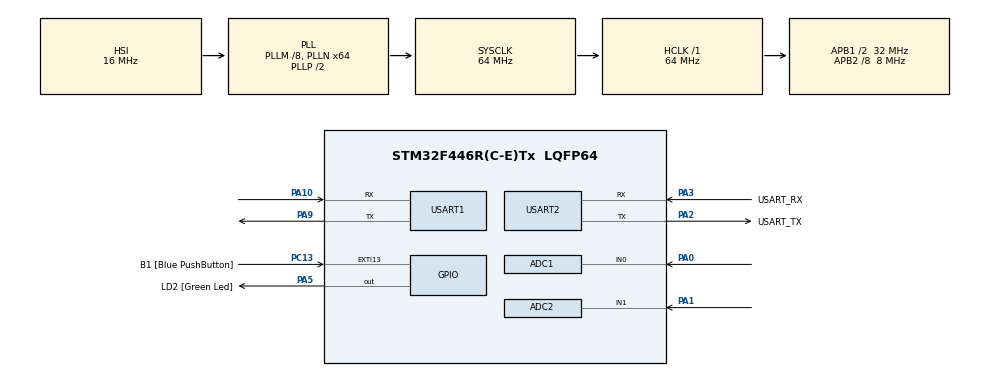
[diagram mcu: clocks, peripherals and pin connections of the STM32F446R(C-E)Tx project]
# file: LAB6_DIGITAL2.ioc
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ADC1.Channel-0\#ChannelRegularConversion=ADC_CHANNEL_0
ADC1.ClockPrescaler=ADC_CLOCK_SYNC_PCLK_DIV8
ADC1.DataAlign=ADC_DATAALIGN_RIGHT
ADC1.NbrOfConversionFlag=1
ADC1.Rank-0\#ChannelRegularConversion=1
ADC1.Resolution=ADC_RESOLUTION_12B
ADC1.SamplingTime-0\#ChannelRegularConversion=ADC_SAMPLETIME_480CYCLES
ADC1.master=1
ADC2.Channel-0\#ChannelRegularConversion=ADC_CHANNEL_1
ADC2.ClockPrescaler=ADC_CLOCK_SYNC_PCLK_DIV8
ADC2.DataAlign=ADC_DATAALIGN_RIGHT
ADC2.NbrOfConversionFlag=1
ADC2.Rank-0\#ChannelRegularConversion=1
ADC2.Resolution=ADC_RESOLUTION_12B
ADC2.SamplingTime-0\#ChannelRegularConversion=ADC_SAMPLETIME_480CYCLES
Mcu.Family=STM32F4
Mcu.Name=STM32F446R(C-E)Tx
Mcu.Package=LQFP64
NVIC.ADC_IRQn=true\:0\:0\:false\:false\:true\:true\:true\:true
NVIC.PriorityGroup=NVIC_PRIORITYGROUP_0
NVIC.USART1_IRQn=true\:0\:0\:false\:false\:true\:true\:true\:true
NVIC.USART2_IRQn=true\:0\:0\:false\:false\:true\:true\:true\:true
PA0-WKUP.Signal=ADCx_IN0
PA1.Signal=ADCx_IN1
PA10.Mode=Asynchronous
PA10.Signal=USART1_RX
PA13.GPIO_Label=TMS
PA13.Mode=Serial_Wire
PA13.Signal=SYS_JTMS-SWDIO
PA14.GPIO_Label=TCK
PA14.Mode=Serial_Wire
PA14.Signal=SYS_JTCK-SWCLK
PA2.GPIO_Label=USART_TX
PA2.Mode=Asynchronous
PA2.Signal=USART2_TX
PA3.GPIO_Label=USART_RX
PA3.Mode=Asynchronous
PA3.Signal=USART2_RX
PA5.GPIO_Label=LD2 [Green Led]
PA5.Signal=GPIO_Output
PA9.Mode=Asynchronous
PA9.Signal=USART1_TX
PB3.GPIO_Label=SWO
PB3.Signal=SYS_JTDO-SWO
PC13.GPIO_Label=B1 [Blue PushButton]
PC13.GPIO_ModeDefaultEXTI=GPIO_MODE_IT_FALLING
PC13.Signal=GPXTI13
PC14-OSC32_IN.Mode=LSE-External-Oscillator
PC14-OSC32_IN.Signal=RCC_OSC32_IN
PC15-OSC32_OUT.Mode=LSE-External-Oscillator
PC15-OSC32_OUT.Signal=RCC_OSC32_OUT
PH0-OSC_IN.Mode=HSE-External-Oscillator
PH0-OSC_IN.Signal=RCC_OSC_IN
PH1-OSC_OUT.Mode=HSE-External-Oscillator
PH1-OSC_OUT.Signal=RCC_OSC_OUT
ProjectManager.HeapSize=0x200
ProjectManager.StackSize=0x400
ProjectManager.TargetToolchain=STM32CubeIDE
RCC.48MHZClocksFreq_Value=84000000
RCC.AHBFreq_Value=64000000
RCC.APB1CLKDivider=RCC_HCLK_DIV2
RCC.APB1Freq_Value=32000000
RCC.APB1TimFreq_Value=64000000
RCC.APB2CLKDivider=RCC_HCLK_DIV8
RCC.APB2Freq_Value=8000000
RCC.APB2TimFreq_Value=16000000
RCC.CortexFreq_Value=64000000
RCC.FLatency-AdvancedSettings=FLASH_LATENCY_2
RCC.HCLKFreq_Value=64000000
RCC.HSE_VALUE=8000000
RCC.HSI_VALUE=16000000
RCC.PLLM=8
RCC.PLLN=64
RCC.SYSCLKFreq_VALUE=64000000
RCC.SYSCLKSource=RCC_SYSCLKSOURCE_PLLCLK
RCC.USBFreq_Value=64000000
RCC.VCOOutputFreq_Value=128000000
SH.ADCx_IN0.0=ADC1_IN0,IN0
SH.ADCx_IN1.0=ADC2_IN1,IN1
USART1.VirtualMode=VM_ASYNC
USART2.VirtualMode=VM_ASYNC
board=NUCLEO-F446RE

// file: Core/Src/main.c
/* USER CODE BEGIN Header */
/**
  ******************************************************************************
  * @file           : main.c
  * @brief          : Main program body
  ******************************************************************************
  * @attention
  *
  * Copyright (c) 2026 STMicroelectronics.
  * All rights reserved.
  *
  * This software is licensed under terms that can be found in the LICENSE file
  * in the root directory of this software component.
  * If no LICENSE file comes with this software, it is provided AS-IS.
  *
  ******************************************************************************
  */
/* USER CODE END Header */
#include "main.h"

/* USER CODE BEGIN Includes */
#include <stdio.h>
#include <string.h>
/* USER CODE END Includes */

ADC_HandleTypeDef hadc1;
ADC_HandleTypeDef hadc2;

UART_HandleTypeDef huart1;
UART_HandleTypeDef huart2;

void SystemClock_Config(void);
static void MX_GPIO_Init(void);
static void MX_USART2_UART_Init(void);
static void MX_ADC1_Init(void);
static void MX_ADC2_Init(void);
static void MX_USART1_UART_Init(void);

/* USER CODE BEGIN 0 */
volatile uint16_t ADCValor1=0;
volatile uint16_t ADCValor2=0;
char buffer[100];
volatile uint8_t ok1=0;
volatile uint8_t ok2=0;

uint8_t dato_uart;
uint8_t ok_UART = 0;
/* USER CODE END 0 */

int main(void)
{

  /* MCU Configuration--------------------------------------------------------*/

  /* Reset of all peripherals, Initializes the Flash interface and the Systick. */
  HAL_Init();

  /* Configure the system clock */
  SystemClock_Config();

  /* Initialize all configured peripherals */
  MX_GPIO_Init();
  MX_USART2_UART_Init();
  MX_ADC1_Init();
  MX_ADC2_Init();
  MX_USART1_UART_Init();
  /* USER CODE BEGIN 2 */
  HAL_ADC_Start_IT(&hadc1);
  HAL_ADC_Start_IT(&hadc2);
  HAL_UART_Receive_IT(&huart2, buffer, 1);
  HAL_UART_Receive_IT(&huart1, buffer, 1);
  /* USER CODE END 2 */

  /* Infinite loop */
  /* USER CODE BEGIN WHILE */
  while (1)
  {

	  if (ok1 == 1)
	  {
		  ok1 = 0;

		  if (ADCValor1 >= 2047)
		  {

			  int len = sprintf((char*)buffer, "ARRIBA|  POT1: %u \r\n", (unsigned int)ADCValor1);
			  HAL_UART_Transmit(&huart2, (uint8_t*)buffer, len, 100);
		  }
		  else
		  {
			  int len = sprintf((char*)buffer, " ABAJO | POT1: %u \r\n", (unsigned int)ADCValor1);
			  HAL_UART_Transmit(&huart2, (uint8_t*)buffer, len, 100);
		  }

	  }

	  if (ok2 == 1)
	  	  {
	  		  ok2 = 0;

	  		  if (ADCValor2 >= 2047)
	  		  {

	  			  int len = sprintf((char*)buffer, "DERECHA|  POT2: %u \r\n", (unsigned int)ADCValor2);
	  			  HAL_UART_Transmit(&huart2, (uint8_t*)buffer, len, 100);
	  		  }
	  		  else
	  		  {
	  			  int len = sprintf((char*)buffer, " IZQUIERDA | POT2: %u \r\n", (unsigned int)ADCValor2);
	  			  HAL_UART_Transmit(&huart2, (uint8_t*)buffer, len, 100);
	  		  }

	  	  }

	      // El resto del tiempo el micro puede estar haciendo otras cosas
	      // o simplemente esperando sin llenar el serial de basura.

	  /* 1. Limpiaros el buffer por seguridad
	  memset(buffer, 0, sizeof(buffer));

	 // int len = sprintf(buffer, "POT1: %u | POT2: %u \r\n", ADCValor1, ADCValor2);
	  // 1. Formateamos el mensaje principal con los valores
	  int len = sprintf((char*)buffer, "POT1: %u | POT2: %u ", (unsigned int)ADCValor1, (unsigned int)ADCValor2);

	  // 2. Hacemos la comparación
	  if (ADCValor1 >= 2047) {
	      // Concatenamos o añadimos el texto "arriba" al buffer
	      len += sprintf((char*)&buffer[len], "-> ARRIBA \r\n");
	  }
	  else {
	      len += sprintf((char*)&buffer[len], "-> ABAJO \r\n");
	  }

	  if (ADCValor2 >= 2047) {
	  	      // Concatenamos o añadimos el texto "arriba" al buffer
	  	      len += sprintf((char*)&buffer[len], "-> DERECHA \r\n");
	  	  }
	  	  else {
	  	      len += sprintf((char*)&buffer[len], "-> IZQUIERDA \r\n");
	  	  }
*/

	  // Si se activa la bandera de "nuevo dato"
	  if (ok_UART == 1){
		  // 1. Bajar la bandera inmediatamente
		  ok_UART = 0;

		  if (dato_uart == 'U')
		  {

			  int len = sprintf((char*)buffer, " ARRIBA  \r\n");
			  HAL_UART_Transmit(&huart2, (uint8_t*)buffer, len, 100);
		  }
		  else if (dato_uart == 'D')
		  {
			  int len = sprintf((char*)buffer, " ABAJO \r\n" );
			  HAL_UART_Transmit(&huart2, (uint8_t*)buffer, len, 100);
		  }

		  else if (dato_uart == 'R')
		  {
			  int len = sprintf((char*)buffer, " DERECHA \r\n");
			  HAL_UART_Transmit(&huart2, (uint8_t*)buffer, len, 100);
		  }

		  else if (dato_uart == 'L')
		  {
			  int len = sprintf((char*)buffer, " IZQUIERDA \r\n");
			  HAL_UART_Transmit(&huart2, (uint8_t*)buffer, len, 100);
		  }

		  else if (dato_uart == 'A')
		  {
			  int len = sprintf((char*)buffer, " A \r\n");
			  HAL_UART_Transmit(&huart2, (uint8_t*)buffer, len, 100);
		  }

		  else if (dato_uart == 'B')
		  {
			  int len = sprintf((char*)buffer, " B \r\n");
			  HAL_UART_Transmit(&huart2, (uint8_t*)buffer, len, 100);
		  }
	  }

	  // 4. Transmitir
	 // HAL_UART_Transmit(&huart2, (uint8_t*)buffer, len, 100);
	  HAL_Delay(200);
    /* USER CODE END WHILE */

  }
}

void SystemClock_Config(void)
{
  RCC_OscInitTypeDef RCC_OscInitStruct = {0};
  RCC_ClkInitTypeDef RCC_ClkInitStruct = {0};

  /** Configure the main internal regulator output voltage
  */
  __HAL_RCC_PWR_CLK_ENABLE();
  __HAL_PWR_VOLTAGESCALING_CONFIG(PWR_REGULATOR_VOLTAGE_SCALE3);

  /** Initializes the RCC Oscillators according to the specified parameters
  * in the RCC_OscInitTypeDef structure.
  */
  RCC_OscInitStruct.OscillatorType = RCC_OSCILLATORTYPE_HSI;
  RCC_OscInitStruct.HSIState = RCC_HSI_ON;
  RCC_OscInitStruct.HSICalibrationValue = RCC_HSICALIBRATION_DEFAULT;
  RCC_OscInitStruct.PLL.PLLState = RCC_PLL_ON;
  RCC_OscInitStruct.PLL.PLLSource = RCC_PLLSOURCE_HSI;
  RCC_OscInitStruct.PLL.PLLM = 8;
  RCC_OscInitStruct.PLL.PLLN = 64;
  RCC_OscInitStruct.PLL.PLLP = RCC_PLLP_DIV2;
  RCC_OscInitStruct.PLL.PLLQ = 2;
  RCC_OscInitStruct.PLL.PLLR = 2;
  if (HAL_RCC_OscConfig(&RCC_OscInitStruct) != HAL_OK)
  {
    Error_Handler();
  }

  /** Initializes the CPU, AHB and APB buses clocks
  */
  RCC_ClkInitStruct.ClockType = RCC_CLOCKTYPE_HCLK|RCC_CLOCKTYPE_SYSCLK
                              |RCC_CLOCKTYPE_PCLK1|RCC_CLOCKTYPE_PCLK2;
  RCC_ClkInitStruct.SYSCLKSource = RCC_SYSCLKSOURCE_PLLCLK;
  RCC_ClkInitStruct.AHBCLKDivider = RCC_SYSCLK_DIV1;
  RCC_ClkInitStruct.APB1CLKDivider = RCC_HCLK_DIV2;
  RCC_ClkInitStruct.APB2CLKDivider = RCC_HCLK_DIV8;

  if (HAL_RCC_ClockConfig(&RCC_ClkInitStruct, FLASH_LATENCY_2) != HAL_OK)
  {
    Error_Handler();
  }
}

static void MX_ADC1_Init(void)
{

  ADC_ChannelConfTypeDef sConfig = {0};

  /** Configure the global features of the ADC (Clock, Resolution, Data Alignment and number of conversion)
  */
  hadc1.Instance = ADC1;
  hadc1.Init.ClockPrescaler = ADC_CLOCK_SYNC_PCLK_DIV8;
  hadc1.Init.Resolution = ADC_RESOLUTION_12B;
  hadc1.Init.ScanConvMode = DISABLE;
  hadc1.Init.ContinuousConvMode = DISABLE;
  hadc1.Init.DiscontinuousConvMode = DISABLE;
  hadc1.Init.ExternalTrigConvEdge = ADC_EXTERNALTRIGCONVEDGE_NONE;
  hadc1.Init.ExternalTrigConv = ADC_SOFTWARE_START;
  hadc1.Init.DataAlign = ADC_DATAALIGN_RIGHT;
  hadc1.Init.NbrOfConversion = 1;
  hadc1.Init.DMAContinuousRequests = DISABLE;
  hadc1.Init.EOCSelection = ADC_EOC_SINGLE_CONV;
  if (HAL_ADC_Init(&hadc1) != HAL_OK)
  {
    Error_Handler();
  }

  /** Configure for the selected ADC regular channel its corresponding rank in the sequencer and its sample time.
  */
  sConfig.Channel = ADC_CHANNEL_0;
  sConfig.Rank = 1;
  sConfig.SamplingTime = ADC_SAMPLETIME_480CYCLES;
  if (HAL_ADC_ConfigChannel(&hadc1, &sConfig) != HAL_OK)
  {
    Error_Handler();
  }

}

static void MX_ADC2_Init(void)
{

  ADC_ChannelConfTypeDef sConfig = {0};

  /** Configure the global features of the ADC (Clock, Resolution, Data Alignment and number of conversion)
  */
  hadc2.Instance = ADC2;
  hadc2.Init.ClockPrescaler = ADC_CLOCK_SYNC_PCLK_DIV8;
  hadc2.Init.Resolution = ADC_RESOLUTION_12B;
  hadc2.Init.ScanConvMode = DISABLE;
  hadc2.Init.ContinuousConvMode = DISABLE;
  hadc2.Init.DiscontinuousConvMode = DISABLE;
  hadc2.Init.ExternalTrigConvEdge = ADC_EXTERNALTRIGCONVEDGE_NONE;
  hadc2.Init.ExternalTrigConv = ADC_SOFTWARE_START;
  hadc2.Init.DataAlign = ADC_DATAALIGN_RIGHT;
  hadc2.Init.NbrOfConversion = 1;
  hadc2.Init.DMAContinuousRequests = DISABLE;
  hadc2.Init.EOCSelection = ADC_EOC_SINGLE_CONV;
  if (HAL_ADC_Init(&hadc2) != HAL_OK)
  {
    Error_Handler();
  }

  /** Configure for the selected ADC regular channel its corresponding rank in the sequencer and its sample time.
  */
  sConfig.Channel = ADC_CHANNEL_1;
  sConfig.Rank = 1;
  sConfig.SamplingTime = ADC_SAMPLETIME_480CYCLES;
  if (HAL_ADC_ConfigChannel(&hadc2, &sConfig) != HAL_OK)
  {
    Error_Handler();
  }

}

static void MX_USART1_UART_Init(void)
{

  huart1.Instance = USART1;
  huart1.Init.BaudRate = 115200;
  huart1.Init.WordLength = UART_WORDLENGTH_8B;
  huart1.Init.StopBits = UART_STOPBITS_1;
  huart1.Init.Parity = UART_PARITY_NONE;
  huart1.Init.Mode = UART_MODE_TX_RX;
  huart1.Init.HwFlowCtl = UART_HWCONTROL_NONE;
  huart1.Init.OverSampling = UART_OVERSAMPLING_16;
  if (HAL_UART_Init(&huart1) != HAL_OK)
  {
    Error_Handler();
  }

}

static void MX_USART2_UART_Init(void)
{

  huart2.Instance = USART2;
  huart2.Init.BaudRate = 115200;
  huart2.Init.WordLength = UART_WORDLENGTH_8B;
  huart2.Init.StopBits = UART_STOPBITS_1;
  huart2.Init.Parity = UART_PARITY_NONE;
  huart2.Init.Mode = UART_MODE_TX_RX;
  huart2.Init.HwFlowCtl = UART_HWCONTROL_NONE;
  huart2.Init.OverSampling = UART_OVERSAMPLING_16;
  if (HAL_UART_Init(&huart2) != HAL_OK)
  {
    Error_Handler();
  }

}

static void MX_GPIO_Init(void)
{
  GPIO_InitTypeDef GPIO_InitStruct = {0};

  /* GPIO Ports Clock Enable */
  __HAL_RCC_GPIOC_CLK_ENABLE();
  __HAL_RCC_GPIOH_CLK_ENABLE();
  __HAL_RCC_GPIOA_CLK_ENABLE();
  __HAL_RCC_GPIOB_CLK_ENABLE();

  /*Configure GPIO pin Output Level */
  HAL_GPIO_WritePin(LD2_GPIO_Port, LD2_Pin, GPIO_PIN_RESET);

  /*Configure GPIO pin : B1_Pin */
  GPIO_InitStruct.Pin = B1_Pin;
  GPIO_InitStruct.Mode = GPIO_MODE_IT_FALLING;
  GPIO_InitStruct.Pull = GPIO_NOPULL;
  HAL_GPIO_Init(B1_GPIO_Port, &GPIO_InitStruct);

  /*Configure GPIO pin : LD2_Pin */
  GPIO_InitStruct.Pin = LD2_Pin;
  GPIO_InitStruct.Mode = GPIO_MODE_OUTPUT_PP;
  GPIO_InitStruct.Pull = GPIO_NOPULL;
  GPIO_InitStruct.Speed = GPIO_SPEED_FREQ_LOW;
  HAL_GPIO_Init(LD2_GPIO_Port, &GPIO_InitStruct);

}

/* USER CODE BEGIN 4 */
/* USER CODE BEGIN 4 */
void HAL_ADC_ConvCpltCallback(ADC_HandleTypeDef *hadc) {
    if (hadc->Instance == ADC1) {
    	ok1=1;
        ADCValor1 = HAL_ADC_GetValue(&hadc1);
        HAL_ADC_Start_IT(&hadc1); // Reinicia ADC1
    }

    if (hadc->Instance == ADC2) {
    	ok2=1;
        ADCValor2 = HAL_ADC_GetValue(&hadc2);
        HAL_ADC_Start_IT(&hadc2); // Reinicia ADC2
    }
}

/*void HAL_UART_RxCpltCallback(UART_HandleTypeDef *huart){
	HAL_UART_Transmit(&huart2, buffer, 1,1000);
	HAL_UART_Receive_IT(&huart1, buffer, 1);

}*/

void HAL_UART_RxCpltCallback(UART_HandleTypeDef *huart){
    if(huart->Instance == USART1){
    	ok_UART=1;

		// Volver a activar la recepción para la próxima letra
		// Guardar directamente en &dato_uart
		HAL_UART_Receive_IT(&huart1, &dato_uart, 1);}

}

/* USER CODE END 4 */

void Error_Handler(void)
{
  __disable_irq();
  while (1)
  {
  }
}
